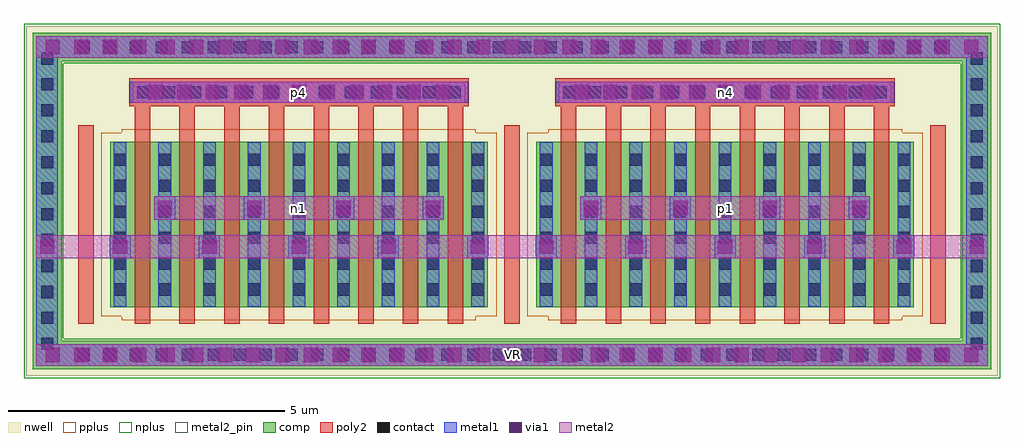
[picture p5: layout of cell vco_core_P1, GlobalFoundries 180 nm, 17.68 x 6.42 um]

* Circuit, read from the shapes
.subckt vco_core_P1 VR n1 n4 p1 p4
XM1 n1 p4 VR VR pfet_03v3 w=3u l=0.28u m=8
XM2 p1 n4 VR VR pfet_03v3 w=3u l=0.28u m=8
.ends

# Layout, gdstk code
import gdstk
lib = gdstk.Library(unit=1e-6, precision=1e-09)
def R(c, l, rs):  # rectangles x0, y0, x1, y1
    for r in rs: c.add(gdstk.rectangle(r[:2], r[2:], *l))
def A(c, l, x, y, w, h, nx, ny, dx, dy):  # array of equal rectangles
    R(c, l, [(x+i*dx, y+j*dy, x+i*dx+w, y+j*dy+h) for i in range(nx) for j in range(ny)])
nwell = (21, 0)
comp = (22, 0)
poly2 = (30, 0)
pplus = (31, 0)
nplus = (32, 0)
contact = (33, 0)
metal1 = (34, 0)
via1 = (35, 0)
metal2 = (36, 0)
metal2_pin = (36, 10)

vco_core_p1 = lib.new_cell('vco_core_P1')
R(vco_core_p1, nwell, [(-1.52,-0.94,16.08,5.395)])
R(vco_core_p1, comp, [(-1.4,-0.82,15.96,-0.3), (-1.4,-0.3,-0.88,4.755), (15.44,-0.3,15.96,4.755), (0,0.3,6.84,3.3), (7.72,0.3,14.56,3.3), (-1.4,4.755,15.96,5.275)])
A(vco_core_p1, poly2, -0.58, 0, 0.28, 3.6, 3, 1, 7.72, 0)
A(vco_core_p1, poly2, 0.445, 0, 0.28, 3.945, 8, 1, 0.81, 0)
A(vco_core_p1, poly2, 8.165, 0, 0.28, 3.945, 8, 1, 0.81, 0)
R(vco_core_p1, poly2, [(0.345,3.945,6.495,4.455), (8.065,3.945,14.215,4.455)])
R(vco_core_p1, pplus, [(0.215,0.07,6.625,0.14), (7.935,0.07,14.345,0.14), (-0.16,0.14,7,3.46), (7.56,0.14,14.72,3.46), (0.215,3.46,6.625,3.53), (7.935,3.46,14.345,3.53)])
R(vco_core_p1, nplus, [(-1.56,-0.98,16.12,-0.27), (-1.56,-0.27,-0.85,4.725), (15.41,-0.27,16.12,4.725), (-1.56,4.725,16.12,5.435)])
A(vco_core_p1, contact, -0.585, -0.67, 0.22, 0.22, 34, 2, 0.47, 5.575)
A(vco_core_p1, contact, -1.25, -0.47, 0.22, 0.22, 1, 12, 0, 0.47)
A(vco_core_p1, contact, 15.59, -0.47, 0.22, 0.22, 1, 12, 0, 0.47)
A(vco_core_p1, contact, 0.07, 0.515, 0.22, 0.22, 9, 6, 0.81, 0.47)
A(vco_core_p1, contact, 7.79, 0.515, 0.22, 0.22, 9, 6, 0.81, 0.47)
A(vco_core_p1, contact, 0.49, 4.09, 0.22, 0.22, 13, 1, 0.47, 0)
A(vco_core_p1, contact, 8.21, 4.09, 0.22, 0.22, 13, 1, 0.47, 0)
A(vco_core_p1, metal1, 0.065, 0.31, 0.23, 0.88, 5, 1, 1.62, 0)
A(vco_core_p1, metal1, 0.875, 0.31, 0.23, 1.58, 4, 1, 1.62, 0)
A(vco_core_p1, metal1, 7.785, 0.31, 0.23, 0.88, 5, 1, 1.62, 0)
A(vco_core_p1, metal1, 8.595, 0.31, 0.23, 1.58, 4, 1, 1.62, 0)
A(vco_core_p1, metal1, -0.01, 1.19, 0.38, 0.42, 5, 1, 1.62, 0)
A(vco_core_p1, metal1, 7.71, 1.19, 0.38, 0.42, 5, 1, 1.62, 0)
A(vco_core_p1, metal1, 0.065, 1.61, 0.23, 1.68, 5, 1, 1.62, 0)
A(vco_core_p1, metal1, 7.785, 1.61, 0.23, 1.68, 5, 1, 1.62, 0)
A(vco_core_p1, metal1, 0.8, 1.89, 0.38, 0.42, 4, 1, 1.62, 0)
A(vco_core_p1, metal1, 8.52, 1.89, 0.38, 0.42, 4, 1, 1.62, 0)
A(vco_core_p1, metal1, 0.875, 2.31, 0.23, 0.98, 4, 1, 1.62, 0)
A(vco_core_p1, metal1, 8.595, 2.31, 0.23, 0.98, 4, 1, 1.62, 0)
R(vco_core_p1, metal1, [(-1.335,-0.755,15.895,-0.365), (-1.335,-0.365,-0.945,4.82), (15.505,-0.365,15.895,4.82), (0.355,4.01,6.485,4.39), (8.075,4.01,14.205,4.39), (-1.335,4.82,15.895,5.21)])
A(vco_core_p1, via1, -1.17, -0.69, 0.26, 0.26, 33, 2, 0.52, 5.575)
A(vco_core_p1, via1, 0.05, 1.27, 0.26, 0.26, 5, 1, 1.62, 0)
A(vco_core_p1, via1, 7.77, 1.27, 0.26, 0.26, 5, 1, 1.62, 0)
A(vco_core_p1, via1, 0.86, 1.97, 0.26, 0.26, 4, 1, 1.62, 0)
A(vco_core_p1, via1, 8.58, 1.97, 0.26, 0.26, 4, 1, 1.62, 0)
A(vco_core_p1, via1, 0.69, 4.07, 0.26, 0.26, 11, 1, 0.52, 0)
A(vco_core_p1, via1, 8.41, 4.07, 0.26, 0.26, 11, 1, 0.52, 0)
R(vco_core_p1, via1, [(-1.27,1.27,-1.01,1.53), (15.57,1.27,15.83,1.53)])
R(vco_core_p1, metal2, [(-1.335,-0.755,15.895,-0.365), (-1.335,1.19,15.895,1.61), (0.8,1.89,6.04,2.31), (8.52,1.89,13.76,2.31), (0.41,4.01,6.43,4.39), (8.13,4.01,14.15,4.39), (-1.335,4.82,15.895,5.21)])
R(vco_core_p1, metal2_pin, [(-1.335,-0.755,15.895,-0.365), (0.8,1.89,6.04,2.31), (8.52,1.89,13.76,2.31), (0.41,4.01,6.43,4.39), (8.13,4.01,14.15,4.39)])
vco_core_p1.add(gdstk.Label('n1', (3.42,2.1), layer=36, texttype=10))
vco_core_p1.add(gdstk.Label('p4', (3.42,4.2), layer=36, texttype=10))
vco_core_p1.add(gdstk.Label('p1', (11.14,2.1), layer=36, texttype=10))
vco_core_p1.add(gdstk.Label('n4', (11.14,4.2), layer=36, texttype=10))
vco_core_p1.add(gdstk.Label('VR', (7.28,-0.56), layer=36, texttype=10))

lib.write_gds('vco_core_P1.gds')
